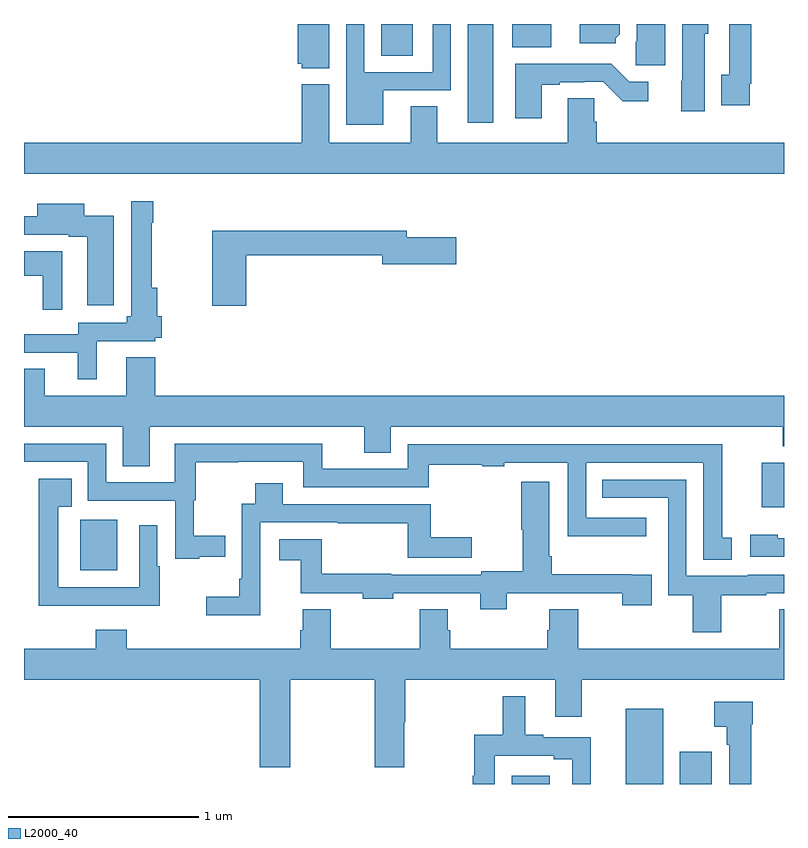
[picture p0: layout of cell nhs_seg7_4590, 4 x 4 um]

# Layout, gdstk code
import gdstk
lib = gdstk.Library(unit=1e-6, precision=1e-09)
def R(c, l, rs):  # rectangles x0, y0, x1, y1
    for r in rs: c.add(gdstk.rectangle(r[:2], r[2:], *l))
def P(c, l, *ps):  # polygons
    for p in ps: c.add(gdstk.Polygon(p, *l))
L2000_40 = (2000, 40)

nhs_seg7_4590 = lib.new_cell('nhs_seg7_4590')
R(nhs_seg7_4590, L2000_40, [(401.567,1068,401.767,1068.043), (402.167,1068,402.364,1068.397), (402.452,1068,402.619,1068.169), (399.296,1069.124,399.49,1069.392), (402.884,1069.457,403,1069.69), (401.336,1071.48,401.47,1072), (400.88,1071.832,401.047,1072), (401.57,1071.878,401.776,1072)])
P(nhs_seg7_4590, L2000_40, [(402.376,1072),(402.224,1072),(402.224,1071.906),(402.22,1071.906),(402.22,1071.783),(402.376,1071.783)],
  [(400.606,1072),(400.442,1072),(400.442,1071.792),(400.461,1071.792),(400.461,1071.767),(400.606,1071.767)],
  [(400.891,1071.651),(401.247,1071.651),(401.247,1072),(401.151,1072),(401.151,1071.747),(400.791,1071.747),(400.791,1072),(400.695,1072),(400.695,1071.47),(400.891,1071.47)],
  [(402.82,1071.685),(402.827,1071.685),(402.827,1072),(402.711,1072),(402.711,1071.734),(402.671,1071.734),(402.671,1071.573),(402.82,1071.573)],
  [(402.583,1071.948),(402.601,1071.948),(402.601,1072),(402.464,1072),(402.464,1071.702),(402.458,1071.702),(402.458,1071.54),(402.583,1071.54)],
  [(402.114,1071.924),(402.136,1071.946),(402.136,1072),(401.924,1072),(401.924,1071.899),(402.114,1071.899)],
  [(401.725,1071.681),(401.821,1071.681),(401.821,1071.693),(401.948,1071.693),(401.948,1071.696),(402.048,1071.696),(402.151,1071.594),(402.286,1071.594),(402.286,1071.696),(402.186,1071.696),(402.092,1071.79),(401.585,1071.79),(401.585,1071.504),(401.725,1071.504)],
  [(403,1071.376),(402.014,1071.376),(402.014,1071.486),(402,1071.486),(402,1071.608),(401.861,1071.608),(401.861,1071.376),(401.176,1071.376),(401.176,1071.566),(401.036,1071.566),(401.036,1071.376),(400.606,1071.376),(400.606,1071.682),(400.463,1071.682),(400.463,1071.376),(399,1071.376),(399,1071.212),(403,1071.212)],
  [(399.382,1070.331),(399.69,1070.331),(399.69,1070.349),(399.725,1070.349),(399.725,1070.463),(399.702,1070.463),(399.702,1070.611),(399.673,1070.611),(399.673,1070.954),(399.68,1070.954),(399.68,1071.067),(399.564,1071.067),(399.564,1070.463),(399.542,1070.463),(399.542,1070.427),(399.285,1070.427),(399.285,1070.367),(399,1070.367),(399,1070.271),(399.284,1070.271),(399.284,1070.13),(399.382,1070.13)],
  [(399.472,1070.991),(399.316,1070.991),(399.316,1071.055),(399.071,1071.055),(399.071,1070.988),(399,1070.988),(399,1070.892),(399.236,1070.892),(399.236,1070.88),(399.332,1070.88),(399.332,1070.52),(399.472,1070.52)],
  [(400.169,1070.782),(400.886,1070.782),(400.886,1070.735),(401.275,1070.735),(401.275,1070.877),(401.014,1070.877),(401.014,1070.911),(399.991,1070.911),(399.991,1070.517),(400.169,1070.517)],
  [(399.202,1070.803),(399,1070.803),(399,1070.675),(399.098,1070.675),(399.098,1070.496),(399.202,1070.496)],
  [(399.661,1069.88),(400.79,1069.88),(400.79,1069.744),(400.93,1069.744),(400.93,1069.88),(402.994,1069.88),(402.994,1069.778),(403,1069.778),(403,1070.044),(399.692,1070.044),(399.692,1070.246),(399.539,1070.246),(399.539,1070.044),(399.109,1070.044),(399.109,1070.186),(399,1070.186),(399,1069.88),(399.521,1069.88),(399.521,1069.672),(399.661,1069.672)],
  [(402.724,1069.297),(402.674,1069.297),(402.674,1069.788),(401.019,1069.788),(401.019,1069.659),(400.569,1069.659),(400.569,1069.791),(399.794,1069.791),(399.794,1069.587),(399.432,1069.587),(399.432,1069.791),(399,1069.791),(399,1069.695),(399.336,1069.695),(399.336,1069.491),(399.795,1069.491),(399.795,1069.185),(399.923,1069.185),(399.923,1069.196),(400.06,1069.196),(400.06,1069.306),(399.894,1069.306),(399.894,1069.494),(399.904,1069.494),(399.904,1069.693),(400.127,1069.693),(400.127,1069.695),(400.47,1069.695),(400.47,1069.563),(401.131,1069.563),(401.131,1069.68),(401.412,1069.68),(401.412,1069.672),(401.528,1069.672),(401.528,1069.692),(401.862,1069.692),(401.862,1069.304),(402.274,1069.304),(402.274,1069.401),(401.958,1069.401),(401.958,1069.692),(402.576,1069.692),(402.576,1069.18),(402.724,1069.18)],
  [(399.293,1068.939),(399.715,1068.939),(399.715,1069.146),(399.702,1069.146),(399.702,1069.363),(399.606,1069.363),(399.606,1069.035),(399.181,1069.035),(399.181,1069.46),(399.251,1069.46),(399.251,1069.606),(399.077,1069.606),(399.077,1068.937),(399.293,1068.937)],
  [(402.669,1068.994),(402.906,1068.994),(402.906,1069.005),(403,1069.005),(403,1069.101),(402.81,1069.101),(402.81,1069.095),(402.486,1069.095),(402.486,1069.602),(402.043,1069.602),(402.043,1069.506),(402.39,1069.506),(402.39,1068.994),(402.521,1068.994),(402.521,1068.798),(402.669,1068.798)],
  [(400.944,1068.974),(400.944,1069.005),(401.402,1069.005),(401.402,1068.92),(401.542,1068.92),(401.542,1069.005),(402.149,1069.005),(402.149,1068.942),(402.305,1068.942),(402.305,1069.101),(402.197,1069.101),(402.197,1069.103),(401.777,1069.103),(401.777,1069.198),(401.764,1069.198),(401.764,1069.591),(401.617,1069.591),(401.617,1069.338),(401.624,1069.338),(401.624,1069.121),(401.406,1069.121),(401.406,1069.101),(400.932,1069.101),(400.932,1069.106),(400.567,1069.106),(400.567,1069.288),(400.344,1069.288),(400.344,1069.178),(400.457,1069.178),(400.457,1069.005),(400.784,1069.005),(400.784,1068.974)],
  [(400.244,1069.377),(400.651,1069.377),(400.651,1069.372),(401.019,1069.372),(401.019,1069.191),(401.356,1069.191),(401.356,1069.3),(401.14,1069.3),(401.14,1069.473),(400.363,1069.473),(400.363,1069.582),(400.216,1069.582),(400.216,1069.476),(400.146,1069.476),(400.146,1069.081),(400.134,1069.081),(400.134,1068.986),(399.96,1068.986),(399.96,1068.887),(400.244,1068.887)],
  [(403,1069.294),(402.966,1069.294),(402.966,1069.312),(402.822,1069.312),(402.822,1069.197),(403,1069.197)],
  [(401.795,1068.354),(401.935,1068.354),(401.935,1068.548),(403,1068.548),(403,1068.919),(402.976,1068.919),(402.976,1068.712),(401.918,1068.712),(401.918,1068.92),(401.765,1068.92),(401.765,1068.81),(401.753,1068.81),(401.753,1068.712),(401.243,1068.712),(401.243,1068.81),(401.23,1068.81),(401.23,1068.92),(401.083,1068.92),(401.083,1068.712),(400.614,1068.712),(400.614,1068.92),(400.466,1068.92),(400.466,1068.81),(400.454,1068.81),(400.454,1068.712),(399.542,1068.712),(399.542,1068.811),(399.377,1068.811),(399.377,1068.712),(399,1068.712),(399,1068.548),(400.241,1068.548),(400.241,1068.087),(400.401,1068.087),(400.401,1068.548),(400.846,1068.548),(400.846,1068.087),(401.001,1068.087),(401.001,1068.326),(401.006,1068.326),(401.006,1068.548),(401.795,1068.548)],
  [(401.478,1068.15),(401.789,1068.15),(401.789,1068.13),(401.886,1068.13),(401.886,1068),(401.984,1068),(401.984,1068.246),(401.734,1068.246),(401.734,1068.259),(401.638,1068.259),(401.638,1068.463),(401.521,1068.463),(401.521,1068.259),(401.37,1068.259),(401.37,1068.043),(401.362,1068.043),(401.362,1068),(401.478,1068)],
  [(402.827,1068.315),(402.835,1068.315),(402.835,1068.433),(402.632,1068.433),(402.632,1068.302),(402.699,1068.302),(402.699,1068.206),(402.711,1068.206),(402.711,1068),(402.827,1068)])

lib.write_gds('nhs_seg7_4590.gds')
